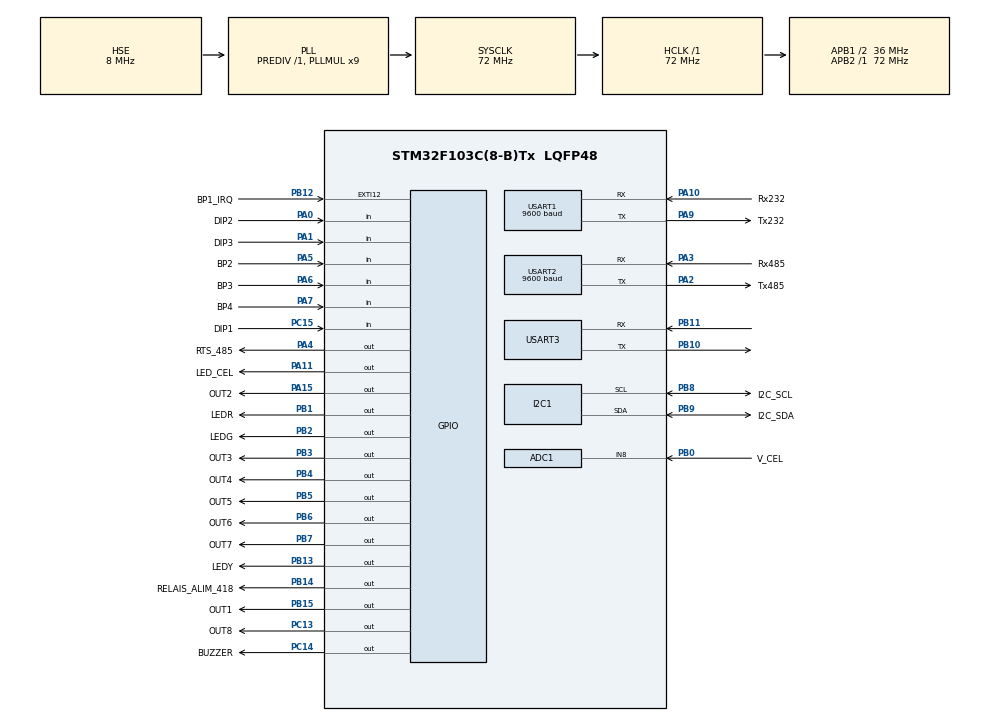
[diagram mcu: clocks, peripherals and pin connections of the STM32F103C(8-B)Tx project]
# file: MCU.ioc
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ADC1.Channel-1\#ChannelRegularConversion=ADC_CHANNEL_8
ADC1.NbrOfConversionFlag=1
ADC1.Rank-1\#ChannelRegularConversion=1
ADC1.SamplingTime-1\#ChannelRegularConversion=ADC_SAMPLETIME_1CYCLE_5
ADC1.master=1
FREERTOS.Tasks01=defaultTask,24,128,StartDefaultTask,Default,NULL,Dynamic,NULL,NULL
FREERTOS.configUSE_NEWLIB_REENTRANT=1
Mcu.Family=STM32F1
Mcu.Name=STM32F103C(8-B)Tx
Mcu.Package=LQFP48
NVIC.PriorityGroup=NVIC_PRIORITYGROUP_4
NVIC.TIM2_IRQn=true\:15\:0\:false\:false\:true\:false\:false\:true\:true
NVIC.TimeBase=TIM2_IRQn
NVIC.TimeBaseIP=TIM2
NVIC.USART1_IRQn=true\:5\:0\:false\:false\:true\:true\:true\:true\:true
NVIC.USART2_IRQn=true\:5\:0\:false\:false\:true\:true\:true\:true\:true
NVIC.USART3_IRQn=true\:5\:0\:false\:false\:true\:true\:true\:true\:true
PA0-WKUP.GPIO_Label=DIP2
PA0-WKUP.Signal=GPIO_Input
PA1.GPIO_Label=DIP3
PA1.Signal=GPIO_Input
PA10.GPIO_Label=Rx232
PA10.Mode=Asynchronous
PA10.Signal=USART1_RX
PA11.GPIO_Label=LED_CEL
PA11.Signal=GPIO_Output
PA13.GPIO_Label=SWDIO
PA13.Mode=Serial_Wire
PA13.Signal=SYS_JTMS-SWDIO
PA14.GPIO_Label=SWCLK
PA14.Mode=Serial_Wire
PA14.Signal=SYS_JTCK-SWCLK
PA15.GPIO_Label=OUT2
PA15.Signal=GPIO_Output
PA2.GPIO_Label=Tx485
PA2.Mode=Asynchronous
PA2.Signal=USART2_TX
PA3.GPIO_Label=Rx485
PA3.Mode=Asynchronous
PA3.Signal=USART2_RX
PA4.GPIO_Label=RTS_485
PA4.Signal=GPIO_Output
PA5.GPIO_Label=BP2
PA5.Signal=GPIO_Input
PA6.GPIO_Label=BP3
PA6.Signal=GPIO_Input
PA7.GPIO_Label=BP4
PA7.Signal=GPIO_Input
PA9.GPIO_Label=Tx232
PA9.Mode=Asynchronous
PA9.Signal=USART1_TX
PB0.GPIO_Label=V_CEL
PB0.Signal=SharedAnalog_PB0
PB1.GPIO_Label=LEDR
PB1.Signal=GPIO_Output
PB10.GPIO_Mode=GPIO_MODE_AF_PP
PB10.GPIO_Speed=GPIO_SPEED_FREQ_HIGH
PB10.Mode=Asynchronous
PB10.Signal=USART3_TX
PB11.GPIO_Mode=GPIO_MODE_INPUT
PB11.GPIO_PuPd=GPIO_NOPULL
PB11.Mode=Asynchronous
PB11.Signal=USART3_RX
PB12.GPIO_Label=BP1_IRQ
PB12.Signal=GPXTI12
PB13.GPIO_Label=LEDY
PB13.Signal=GPIO_Output
PB14.GPIO_Label=RELAIS_ALIM_418
PB14.Signal=GPIO_Output
PB15.GPIO_Label=OUT1
PB15.Signal=GPIO_Output
PB2.GPIO_Label=LEDG
PB2.Signal=GPIO_Output
PB3.GPIO_Label=OUT3
PB3.Signal=GPIO_Output
PB4.GPIO_Label=OUT4
PB4.Signal=GPIO_Output
PB5.GPIO_Label=OUT5
PB5.Signal=GPIO_Output
PB6.GPIO_Label=OUT6
PB6.Signal=GPIO_Output
PB7.GPIO_Label=OUT7
PB7.Signal=GPIO_Output
PB8.GPIO_Label=I2C_SCL
PB8.Mode=I2C
PB8.Signal=I2C1_SCL
PB9.GPIO_Label=I2C_SDA
PB9.Mode=I2C
PB9.Signal=I2C1_SDA
PC13-TAMPER-RTC.GPIO_Label=OUT8
PC13-TAMPER-RTC.Signal=GPIO_Output
PC14-OSC32_IN.GPIO_Label=BUZZER
PC14-OSC32_IN.Signal=GPIO_Output
PC15-OSC32_OUT.GPIO_Label=DIP1
PC15-OSC32_OUT.Signal=GPIO_Input
PD0-OSC_IN.Mode=HSE-External-Oscillator
PD0-OSC_IN.Signal=RCC_OSC_IN
PD1-OSC_OUT.Mode=HSE-External-Oscillator
PD1-OSC_OUT.Signal=RCC_OSC_OUT
ProjectManager.HeapSize=0x200
ProjectManager.StackSize=0x400
ProjectManager.TargetToolchain=STM32CubeIDE
RCC.ADCPresc=RCC_ADCPCLK2_DIV8
RCC.AHBFreq_Value=72000000
RCC.APB1CLKDivider=RCC_HCLK_DIV2
RCC.APB1Freq_Value=36000000
RCC.APB1TimFreq_Value=72000000
RCC.APB2Freq_Value=72000000
RCC.APB2TimFreq_Value=72000000
RCC.HCLKFreq_Value=72000000
RCC.PLLMUL=RCC_PLL_MUL9
RCC.PLLSourceVirtual=RCC_PLLSOURCE_HSE
RCC.SYSCLKFreq_VALUE=72000000
RCC.SYSCLKSource=RCC_SYSCLKSOURCE_PLLCLK
RCC.USBFreq_Value=72000000
SH.SharedAnalog_PB0.0=GPIO_Analog
SH.SharedAnalog_PB0.1=ADC1_IN8,IN8
USART1.BaudRate=9600
USART1.VirtualMode=VM_ASYNC
USART2.BaudRate=9600
USART2.VirtualMode=VM_ASYNC
USART3.VirtualMode=VM_ASYNC
VP_FREERTOS_VS_CMSIS_V2.Mode=CMSIS_V2
VP_SYS_VS_tim2.Mode=TIM2
VP_TIM1_VS_ClockSourceINT.Mode=Internal
board=custom

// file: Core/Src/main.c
/* USER CODE BEGIN Header */
/**
 ******************************************************************************
 * @file           : main.c
 * @brief          : Main program body
 ******************************************************************************
 * @attention
 *
 * Copyright (c) 2025 STMicroelectronics.
 * All rights reserved.
 *
 * This software is licensed under terms that can be found in the LICENSE file
 * in the root directory of this software component.
 * If no LICENSE file comes with this software, it is provided AS-IS.
 *
 ******************************************************************************
 */
/* USER CODE END Header */
#include "main.h"
#include "cmsis_os.h"

/* USER CODE BEGIN Includes */

#include <string.h>
#include <stdio.h>

#include "StateMachine.h"
#include "uart.h"

/* USER CODE END Includes */

ADC_HandleTypeDef hadc1;

I2C_HandleTypeDef hi2c1;

TIM_HandleTypeDef htim1;

/* Definitions for defaultTask */
osThreadId_t defaultTaskHandle;
const osThreadAttr_t defaultTask_attributes = {
    .name = "defaultTask",
    .stack_size = 128 * 4,
    .priority = (osPriority_t)osPriorityNormal,
};
/* USER CODE BEGIN PV */
osThreadId_t StateMachineTaskHandle;
const osThreadAttr_t StateMachineTask_attributes = {
    .name = "StateMachineTask",
    .stack_size = 512 * 4,
    .priority = (osPriority_t)osPriorityNormal,
};

/* USER CODE END PV */

void SystemClock_Config(void);
static void MX_GPIO_Init(void);
static void MX_I2C1_Init(void);
static void MX_ADC1_Init(void);
static void MX_TIM1_Init(void);
void StartDefaultTask(void *argument);

/* USER CODE BEGIN PFP */
void StartStateMachineTask(void *argument);

/* USER CODE END PFP */

int main(void)
{

  /* MCU Configuration--------------------------------------------------------*/

  /* Reset of all peripherals, Initializes the Flash interface and the Systick. */
  HAL_Init();

  /* Configure the system clock */
  SystemClock_Config();

  /* Initialize all configured peripherals */
  MX_GPIO_Init();
  MX_I2C1_Init();
  MX_USART1_UART_Init();
  MX_USART2_UART_Init();
  MX_USART3_UART_Init();
  MX_ADC1_Init();
  MX_TIM1_Init();

  /* Init scheduler */
  osKernelInitialize();

  /* Create the thread(s) */
  /* creation of defaultTask */
  defaultTaskHandle = osThreadNew(StartDefaultTask, NULL, &defaultTask_attributes);

  /* USER CODE BEGIN RTOS_THREADS */
  /* add threads, ... */
  StateMachineTaskHandle = osThreadNew(StartStateMachineTask, NULL, &StateMachineTask_attributes);
  /* USER CODE END RTOS_THREADS */

  /* Start scheduler */
  osKernelStart();

  /* We should never get here as control is now taken by the scheduler */

  /* Infinite loop */
  /* USER CODE BEGIN WHILE */

  /* USER CODE END 3 */
}

void SystemClock_Config(void)
{
  RCC_OscInitTypeDef RCC_OscInitStruct = {0};
  RCC_ClkInitTypeDef RCC_ClkInitStruct = {0};
  RCC_PeriphCLKInitTypeDef PeriphClkInit = {0};

  /** Initializes the RCC Oscillators according to the specified parameters
   * in the RCC_OscInitTypeDef structure.
   */
  RCC_OscInitStruct.OscillatorType = RCC_OSCILLATORTYPE_HSE;
  RCC_OscInitStruct.HSEState = RCC_HSE_ON;
  RCC_OscInitStruct.HSEPredivValue = RCC_HSE_PREDIV_DIV1;
  RCC_OscInitStruct.HSIState = RCC_HSI_ON;
  RCC_OscInitStruct.PLL.PLLState = RCC_PLL_ON;
  RCC_OscInitStruct.PLL.PLLSource = RCC_PLLSOURCE_HSE;
  RCC_OscInitStruct.PLL.PLLMUL = RCC_PLL_MUL9;
  if (HAL_RCC_OscConfig(&RCC_OscInitStruct) != HAL_OK)
  {
    Error_Handler();
  }

  /** Initializes the CPU, AHB and APB buses clocks
   */
  RCC_ClkInitStruct.ClockType = RCC_CLOCKTYPE_HCLK | RCC_CLOCKTYPE_SYSCLK | RCC_CLOCKTYPE_PCLK1 | RCC_CLOCKTYPE_PCLK2;
  RCC_ClkInitStruct.SYSCLKSource = RCC_SYSCLKSOURCE_PLLCLK;
  RCC_ClkInitStruct.AHBCLKDivider = RCC_SYSCLK_DIV1;
  RCC_ClkInitStruct.APB1CLKDivider = RCC_HCLK_DIV2;
  RCC_ClkInitStruct.APB2CLKDivider = RCC_HCLK_DIV1;

  if (HAL_RCC_ClockConfig(&RCC_ClkInitStruct, FLASH_LATENCY_2) != HAL_OK)
  {
    Error_Handler();
  }
  PeriphClkInit.PeriphClockSelection = RCC_PERIPHCLK_ADC;
  PeriphClkInit.AdcClockSelection = RCC_ADCPCLK2_DIV8;
  if (HAL_RCCEx_PeriphCLKConfig(&PeriphClkInit) != HAL_OK)
  {
    Error_Handler();
  }
}

static void MX_ADC1_Init(void)
{

  ADC_ChannelConfTypeDef sConfig = {0};

  /** Common config
   */
  hadc1.Instance = ADC1;
  hadc1.Init.ScanConvMode = ADC_SCAN_DISABLE;
  hadc1.Init.ContinuousConvMode = DISABLE;
  hadc1.Init.DiscontinuousConvMode = DISABLE;
  hadc1.Init.ExternalTrigConv = ADC_SOFTWARE_START;
  hadc1.Init.DataAlign = ADC_DATAALIGN_RIGHT;
  hadc1.Init.NbrOfConversion = 1;
  if (HAL_ADC_Init(&hadc1) != HAL_OK)
  {
    Error_Handler();
  }

  /** Configure Regular Channel
   */
  sConfig.Channel = ADC_CHANNEL_8;
  sConfig.Rank = ADC_REGULAR_RANK_1;
  sConfig.SamplingTime = ADC_SAMPLETIME_1CYCLE_5;
  if (HAL_ADC_ConfigChannel(&hadc1, &sConfig) != HAL_OK)
  {
    Error_Handler();
  }
}

static void MX_I2C1_Init(void)
{

  hi2c1.Instance = I2C1;
  hi2c1.Init.ClockSpeed = 100000;
  hi2c1.Init.DutyCycle = I2C_DUTYCYCLE_2;
  hi2c1.Init.OwnAddress1 = 0;
  hi2c1.Init.AddressingMode = I2C_ADDRESSINGMODE_7BIT;
  hi2c1.Init.DualAddressMode = I2C_DUALADDRESS_DISABLE;
  hi2c1.Init.OwnAddress2 = 0;
  hi2c1.Init.GeneralCallMode = I2C_GENERALCALL_DISABLE;
  hi2c1.Init.NoStretchMode = I2C_NOSTRETCH_DISABLE;
  if (HAL_I2C_Init(&hi2c1) != HAL_OK)
  {
    Error_Handler();
  }
}

static void MX_TIM1_Init(void)
{

  TIM_ClockConfigTypeDef sClockSourceConfig = {0};
  TIM_MasterConfigTypeDef sMasterConfig = {0};

  htim1.Instance = TIM1;
  htim1.Init.Prescaler = 0;
  htim1.Init.CounterMode = TIM_COUNTERMODE_UP;
  htim1.Init.Period = 65535;
  htim1.Init.ClockDivision = TIM_CLOCKDIVISION_DIV1;
  htim1.Init.RepetitionCounter = 0;
  htim1.Init.AutoReloadPreload = TIM_AUTORELOAD_PRELOAD_DISABLE;
  if (HAL_TIM_Base_Init(&htim1) != HAL_OK)
  {
    Error_Handler();
  }
  sClockSourceConfig.ClockSource = TIM_CLOCKSOURCE_INTERNAL;
  if (HAL_TIM_ConfigClockSource(&htim1, &sClockSourceConfig) != HAL_OK)
  {
    Error_Handler();
  }
  sMasterConfig.MasterOutputTrigger = TIM_TRGO_RESET;
  sMasterConfig.MasterSlaveMode = TIM_MASTERSLAVEMODE_DISABLE;
  if (HAL_TIMEx_MasterConfigSynchronization(&htim1, &sMasterConfig) != HAL_OK)
  {
    Error_Handler();
  }
}

static void MX_GPIO_Init(void)
{
  GPIO_InitTypeDef GPIO_InitStruct = {0};

  /* GPIO Ports Clock Enable */
  __HAL_RCC_GPIOC_CLK_ENABLE();
  __HAL_RCC_GPIOD_CLK_ENABLE();
  __HAL_RCC_GPIOA_CLK_ENABLE();
  __HAL_RCC_GPIOB_CLK_ENABLE();

  /*Configure GPIO pin Output Level */
  HAL_GPIO_WritePin(GPIOC, OUT8_Pin | BUZZER_Pin, GPIO_PIN_RESET);

  /*Configure GPIO pin Output Level */
  HAL_GPIO_WritePin(GPIOA, RTS_485_Pin | LED_CEL_Pin | OUT2_Pin, GPIO_PIN_RESET);

  /*Configure GPIO pin Output Level */
  HAL_GPIO_WritePin(GPIOB, LEDR_Pin | LEDG_Pin | LEDY_Pin | RELAIS_ALIM_418_Pin | OUT1_Pin | OUT3_Pin | OUT4_Pin | OUT5_Pin | OUT6_Pin | OUT7_Pin, GPIO_PIN_RESET);

  /*Configure GPIO pins : OUT8_Pin BUZZER_Pin */
  GPIO_InitStruct.Pin = OUT8_Pin | BUZZER_Pin;
  GPIO_InitStruct.Mode = GPIO_MODE_OUTPUT_PP;
  GPIO_InitStruct.Pull = GPIO_NOPULL;
  GPIO_InitStruct.Speed = GPIO_SPEED_FREQ_LOW;
  HAL_GPIO_Init(GPIOC, &GPIO_InitStruct);

  /*Configure GPIO pin : DIP1_Pin */
  GPIO_InitStruct.Pin = DIP1_Pin;
  GPIO_InitStruct.Mode = GPIO_MODE_INPUT;
  GPIO_InitStruct.Pull = GPIO_NOPULL;
  HAL_GPIO_Init(DIP1_GPIO_Port, &GPIO_InitStruct);

  /*Configure GPIO pins : DIP2_Pin DIP3_Pin BP2_Pin BP3_Pin
                           BP4_Pin */
  GPIO_InitStruct.Pin = DIP2_Pin | DIP3_Pin | BP2_Pin | BP3_Pin | BP4_Pin;
  GPIO_InitStruct.Mode = GPIO_MODE_INPUT;
  GPIO_InitStruct.Pull = GPIO_NOPULL;
  HAL_GPIO_Init(GPIOA, &GPIO_InitStruct);

  /*Configure GPIO pins : RTS_485_Pin LED_CEL_Pin OUT2_Pin */
  GPIO_InitStruct.Pin = RTS_485_Pin | LED_CEL_Pin | OUT2_Pin;
  GPIO_InitStruct.Mode = GPIO_MODE_OUTPUT_PP;
  GPIO_InitStruct.Pull = GPIO_NOPULL;
  GPIO_InitStruct.Speed = GPIO_SPEED_FREQ_LOW;
  HAL_GPIO_Init(GPIOA, &GPIO_InitStruct);

  /*Configure GPIO pins : LEDR_Pin LEDG_Pin LEDY_Pin RELAIS_ALIM_418_Pin
                           OUT1_Pin OUT3_Pin OUT4_Pin OUT5_Pin
                           OUT6_Pin OUT7_Pin */
  GPIO_InitStruct.Pin = LEDR_Pin | LEDG_Pin | LEDY_Pin | RELAIS_ALIM_418_Pin | OUT1_Pin | OUT3_Pin | OUT4_Pin | OUT5_Pin | OUT6_Pin | OUT7_Pin;
  GPIO_InitStruct.Mode = GPIO_MODE_OUTPUT_PP;
  GPIO_InitStruct.Pull = GPIO_NOPULL;
  GPIO_InitStruct.Speed = GPIO_SPEED_FREQ_LOW;
  HAL_GPIO_Init(GPIOB, &GPIO_InitStruct);

  /*Configure GPIO pin : BP1_IRQ_Pin */
  GPIO_InitStruct.Pin = BP1_IRQ_Pin;
  GPIO_InitStruct.Mode = GPIO_MODE_IT_RISING;
  GPIO_InitStruct.Pull = GPIO_NOPULL;
  HAL_GPIO_Init(BP1_IRQ_GPIO_Port, &GPIO_InitStruct);

}

/* USER CODE BEGIN 4 */
void StartStateMachineTask(void *argument)
{
  for (;;)
  {
    StateMachineTask();
    osDelay(50);
  }
}

/* USER CODE END 4 */

void StartDefaultTask(void *argument)
{
  /* USER CODE BEGIN 5 */
  /* Infinite loop */
  for (;;)
  {
    HAL_GPIO_TogglePin(OUT4_GPIO_Port, OUT4_Pin); //DEBUG
    osDelay(500);
  }
  /* USER CODE END 5 */
}

void HAL_TIM_PeriodElapsedCallback(TIM_HandleTypeDef *htim)
{
  if (htim->Instance == TIM2)
  {
    HAL_IncTick();
  }
}

void Error_Handler(void)
{
  /* USER CODE BEGIN Error_Handler_Debug */
  /* User can add his own implementation to report the HAL error return state */
  __disable_irq();
  while (1)
  {
    send_UART3("ERROR");
  }
  /* USER CODE END Error_Handler_Debug */
}
